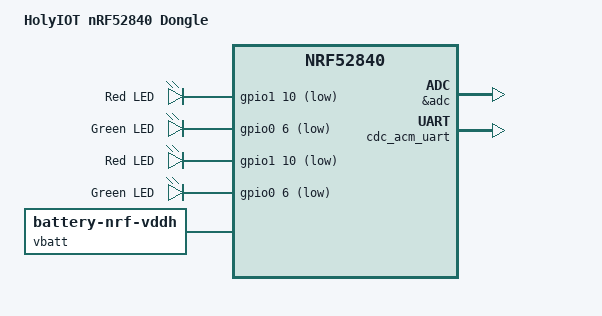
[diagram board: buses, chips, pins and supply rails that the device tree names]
/*
 * SPDX-License-Identifier: MIT
 * Holyiot nRF52840 Dongle Device Tree Source
 */

/dts-v1/;
#include <nordic/nrf52840_qiaa.dtsi>

/ {
	model = "HolyIOT nRF52840 Dongle";
	compatible = "holyiot,nrf52840-dongle";

	chosen {
		zephyr,sram = &sram0;
		zephyr,flash = &flash0;
		zephyr,code-partition = &code_partition;
		zephyr,console = &cdc_acm_uart;
		zmk,battery = &vbatt;
	};

	leds {
		compatible = "gpio-leds";
		led0: led_0 {
			gpios = <&gpio1 10 GPIO_ACTIVE_LOW>;
			label = "Red LED";
		};
		led1: led_1 {
			gpios = <&gpio0 6 GPIO_ACTIVE_LOW>;
			label = "Green LED";
		};
	};

	aliases/*
 * SPDX-License-Identifier: MIT
 * Holyiot nRF52840 Dongle Device Tree Source
 */

/dts-v1/;
#include <nordic/nrf52840_qiaa.dtsi>
#include "holyiot_nrf52840_dongle-pinctrl.dtsi"

/ {
	model = "HolyIOT nRF52840 Dongle";
	compatible = "holyiot,nrf52840-dongle";

	chosen {
		zephyr,sram = &sram0;
		zephyr,flash = &flash0;
		zephyr,code-partition = &code_partition;
		zephyr,console = &cdc_acm_uart;
		zmk,battery = &vbatt;
	};

	leds {
		compatible = "gpio-leds";
		led0: led_0 {
			gpios = <&gpio1 10 GPIO_ACTIVE_LOW>;
			label = "Red LED";
		};
		led1: led_1 {
			gpios = <&gpio0 6 GPIO_ACTIVE_LOW>;
			label = "Green LED";
		};
	};

	aliases {
		led0 = &led0;
		led1 = &led1;
	};

	vbatt: vbatt {
		compatible = "zmk,battery-nrf-vddh";
	};
};

&flash0 {
	partitions {
		compatible = "fixed-partitions";
		#address-cells = <1>;
		#size-cells = <1>;

		sd_partition: partition@0 {
			label = "softdevice";
			reg = <0x00000000 0x00026000>;
		};
		code_partition: partition@26000 {
			label = "code_partition";
			reg = <0x00026000 0x000c6000>;
		};

		storage_partition: partition@ec000 {
			label = "storage";
			reg = <0x000ec000 0x00008000>;
		};

		boot_partition: partition@f4000 {
			label = "adafruit_boot";
			reg = <0x000f4000 0x0000c000>;
		};
	};
};

&adc {
	status = "okay";
};

&gpiote {
	status = "okay";
};

&gpio0 {
	status = "okay";
};

&gpio1 {
	status = "okay";
};

&usbd {
	compatible = "nordic,nrf-usbd";
	status = "okay";
	cdc_acm_uart: cdc_acm_uart {
		compatible = "zephyr,cdc-acm-uart";
	};
};

&uart0 {
	status = "disabled";
};

zephyr_udc0: &usbd {};
